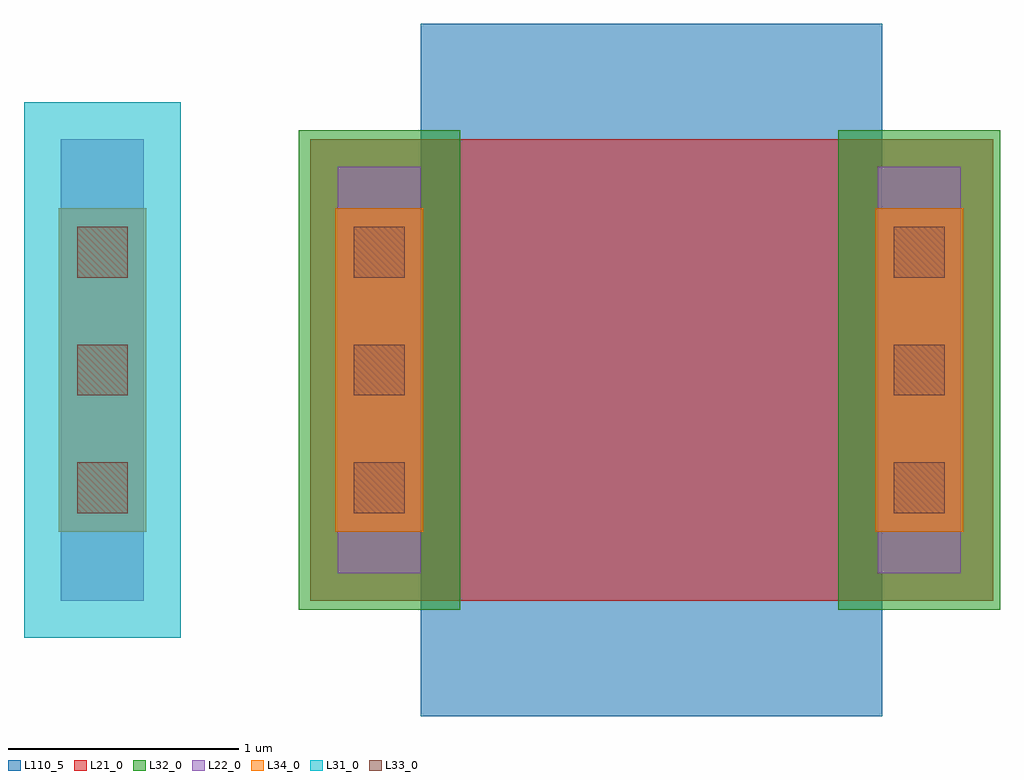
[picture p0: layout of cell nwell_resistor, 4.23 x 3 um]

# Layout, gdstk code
import gdstk
lib = gdstk.Library(unit=1e-6, precision=1e-09)
def R(c, l, rs):  # rectangles x0, y0, x1, y1
    for r in rs: c.add(gdstk.rectangle(r[:2], r[2:], *l))
def A(c, l, x, y, w, h, nx, ny, dx, dy):  # array of equal rectangles
    R(c, l, [(x+i*dx, y+j*dy, x+i*dx+w, y+j*dy+h) for i in range(nx) for j in range(ny)])
L21_0 = (21, 0)
L22_0 = (22, 0)
L31_0 = (31, 0)
L32_0 = (32, 0)
L33_0 = (33, 0)
L34_0 = (34, 0)
L110_5 = (110, 5)

nwell_resistor = lib.new_cell('nwell_resistor')
R(nwell_resistor, L21_0, [(-0.48,0.5,2.48,2.5)])
R(nwell_resistor, L22_0, [(-1.56,0.5,-1.2,2.5), (-0.36,0.62,0,2.38), (1.98,0.62,2.34,2.38)])
R(nwell_resistor, L31_0, [(-1.72,0.34,-1.04,2.66)])
R(nwell_resistor, L32_0, [(-0.53,0.46,0.17,2.54), (1.81,0.46,2.51,2.54)])
A(nwell_resistor, L33_0, -1.49, 0.88, 0.22, 0.22, 1, 3, 0, 0.51)
A(nwell_resistor, L33_0, -0.29, 0.88, 0.22, 0.22, 1, 3, 0, 0.51)
A(nwell_resistor, L33_0, 2.05, 0.88, 0.22, 0.22, 1, 3, 0, 0.51)
R(nwell_resistor, L34_0, [(-1.57,0.8,-1.19,2.2), (-0.37,0.8,0.01,2.2), (1.97,0.8,2.35,2.2)])
R(nwell_resistor, L110_5, [(0,0,2,3)])

lib.write_gds('nwell_resistor.gds')
